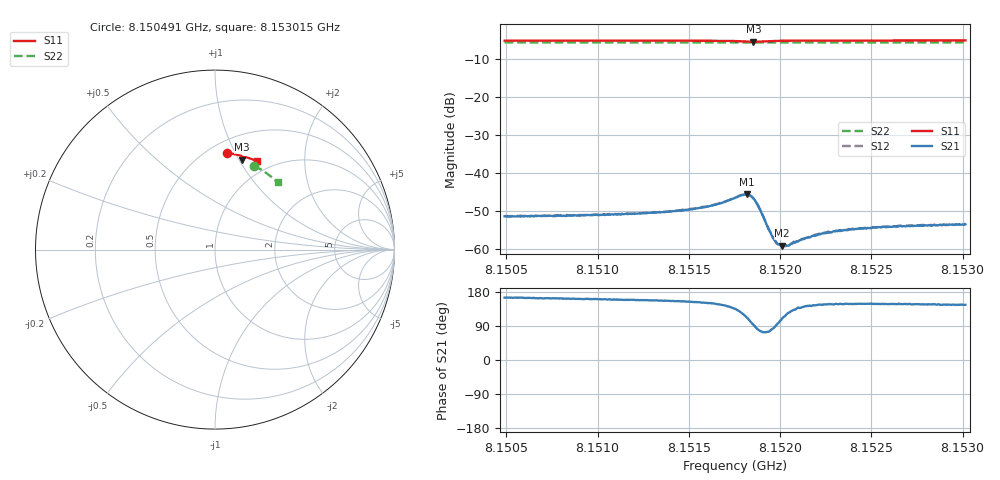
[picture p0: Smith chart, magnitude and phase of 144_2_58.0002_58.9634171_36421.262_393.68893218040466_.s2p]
#  HZ  S  RI  R  50.00
! Rohde & Schwarz Vector Network Analyzer
! Rohde-Schwarz,ZNB20-2Port,1311601062101988,3.16
! Created: UTC 3/21/2024, 12:56:45 AM
! freq[Hz]  re:S11  im:S11  re:S21  im:S21  re:S12  im:S12  re:S22  im:S22
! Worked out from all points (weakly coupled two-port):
!   401 points, 8.150491 GHz to 8.153015 GHz, reference 50 ohm
!   highest |S21| = -45.58 dB at 8.151816 GHz (marker M1); lowest = -59.1 dB at 8.152012 GHz (marker M2)
!   lowest |S11| = -5.6 dB at 8.151854 GHz (marker M3), VSWR 3.20, Z = 37.4 + j51.6 ohm
!   |S11| at or under -10 dB: nowhere
!   |S22| runs from -5.8 to -5.8 dB; largest |S21 - S12| = 0.00014
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8.1504909e9  0.0663 0.5376  -0.00262 0.000727  -0.00259 0.000764  0.2173 0.467
8.1509138e9  0.0961 0.5335  -0.00265 0.000907  -0.00267 0.000942  0.2415 0.4545
8.1513366e9  0.1262 0.5276  -0.00281 0.0012  -0.00283 0.00127  0.2649 0.4404
8.1514629e9  0.1356 0.5252  -0.00295 0.00137  -0.00298 0.00144  0.2717 0.436
8.151608e9  0.1471 0.5213  -0.00318 0.00181  -0.00318 0.00188  0.2795 0.4308
8.1516774e9  0.1531 0.5182  -0.00333 0.00229  -0.00334 0.00235  0.2832 0.4282
8.1517532e9  0.1593 0.5118  -0.00335 0.00335  -0.00333 0.00344  0.2871 0.4253
8.1517847e9  0.1603 0.5075  -0.003 0.00413  -0.00297 0.00419  0.2888 0.424
8.1518163e9  0.1586 0.5025  -0.00205 0.00484  -0.00198 0.00488  0.2903 0.4226
8.1518352e9  0.1556 0.5009  -0.00111 0.00497  -0.00108 0.005  0.291 0.4221
8.1518542e9  0.1521 0.5008  -0.000197 0.00464  -0.000125 0.00468  0.2918 0.4213
8.1518794e9  0.149 0.5042  0.000615 0.0037  0.00067 0.0037  0.2931 0.4207
8.1519425e9  0.1524 0.5128  0.000425 0.0017  0.000443 0.00169  0.2963 0.4187
8.1519678e9  0.1552 0.5144  9.66e-05 0.00133  9.11e-05 0.00137  0.2978 0.4176
8.151993e9  0.158 0.5152  -0.000166 0.00116  -0.000188 0.00114  0.2991 0.4169
8.1520119e9  0.1599 0.5155  -0.000376 0.00105  -0.000378 0.00105  0.3001 0.416
8.1520435e9  0.1633 0.5157  -0.000625 0.000929  -0.000593 0.000976  0.3018 0.4148
8.152176e9  0.1748 0.5139  -0.0012 0.000889  -0.00121 0.000881  0.3086 0.4097
8.1522076e9  0.1774 0.5133  -0.00129 0.000879  -0.0013 0.000917  0.3102 0.4083
8.1523086e9  0.1848 0.5112  -0.00149 0.000926  -0.00147 0.000972  0.3153 0.4044
8.1525989e9  0.205 0.5045  -0.00167 0.00106  -0.00168 0.00105  0.3295 0.3922
8.1530154e9  0.2323 0.4933  -0.00176 0.0012  -0.00175 0.00125  0.349 0.3742
